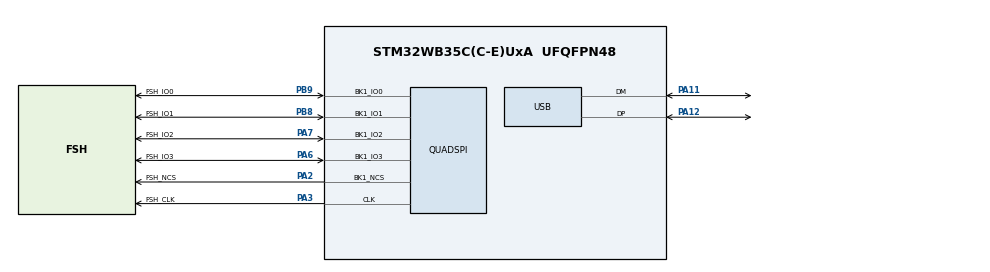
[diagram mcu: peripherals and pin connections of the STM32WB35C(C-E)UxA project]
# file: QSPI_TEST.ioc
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Dma.QUADSPI.0.Direction=DMA_PERIPH_TO_MEMORY
Dma.QUADSPI.0.EventEnable=DISABLE
Dma.QUADSPI.0.Instance=DMA1_Channel1
Dma.QUADSPI.0.MemDataAlignment=DMA_MDATAALIGN_BYTE
Dma.QUADSPI.0.MemInc=DMA_MINC_ENABLE
Dma.QUADSPI.0.Mode=DMA_NORMAL
Dma.QUADSPI.0.PeriphDataAlignment=DMA_PDATAALIGN_BYTE
Dma.QUADSPI.0.PeriphInc=DMA_PINC_DISABLE
Dma.QUADSPI.0.Polarity=HAL_DMAMUX_REQ_GEN_RISING
Dma.QUADSPI.0.Priority=DMA_PRIORITY_LOW
Dma.QUADSPI.0.RequestNumber=1
Dma.QUADSPI.0.SignalID=NONE
Dma.QUADSPI.0.SyncEnable=DISABLE
Dma.QUADSPI.0.SyncPolarity=HAL_DMAMUX_SYNC_NO_EVENT
Dma.QUADSPI.0.SyncRequestNumber=1
Dma.QUADSPI.0.SyncSignalID=NONE
Dma.Request0=QUADSPI
Mcu.Family=STM32WB
Mcu.Name=STM32WB35C(C-E)UxA
Mcu.Package=UFQFPN48
NVIC.DMA1_Channel1_IRQn=true\:0\:0\:false\:false\:true\:false\:true\:true
NVIC.PriorityGroup=NVIC_PRIORITYGROUP_4
NVIC.QUADSPI_IRQn=true\:0\:0\:false\:false\:true\:true\:true\:true
NVIC.USB_LP_IRQn=true\:0\:0\:false\:false\:true\:false\:true\:true
OSC_IN.Mode=HSE-External-Oscillator
OSC_IN.Signal=RCC_OSC_IN
OSC_OUT.Mode=HSE-External-Oscillator
OSC_OUT.Signal=RCC_OSC_OUT
PA11.Mode=Device
PA11.Signal=USB_DM
PA12.Mode=Device
PA12.Signal=USB_DP
PA13.Mode=Serial_Wire
PA13.Signal=SYS_JTMS-SWDIO
PA14.Mode=Serial_Wire
PA14.Signal=SYS_JTCK-SWCLK
PA2.GPIO_Label=FSH_NCS
PA2.Mode=Single Bank 1
PA2.Signal=QUADSPI_BK1_NCS
PA3.GPIO_Label=FSH_CLK
PA3.Mode=Single Bank 1
PA3.Signal=QUADSPI_CLK
PA6.GPIO_Label=FSH_IO3
PA6.Mode=Single Bank 1
PA6.Signal=QUADSPI_BK1_IO3
PA7.GPIO_Label=FSH_IO2
PA7.Mode=Single Bank 1
PA7.Signal=QUADSPI_BK1_IO2
PB8.GPIO_Label=FSH_IO1
PB8.Mode=Single Bank 1
PB8.Signal=QUADSPI_BK1_IO1
PB9.GPIO_Label=FSH_IO0
PB9.Mode=Single Bank 1
PB9.Signal=QUADSPI_BK1_IO0
ProjectManager.HeapSize=0x2000
ProjectManager.StackSize=0x4000
ProjectManager.TargetToolchain=MDK-ARM V5.32
QUADSPI.ClockPrescaler=0
RCC.ADCFreq_Value=48000000
RCC.AHB2CLKDivider=RCC_SYSCLK_DIV2
RCC.AHBFreq_Value=64000000
RCC.APB1Freq_Value=64000000
RCC.APB1TimFreq_Value=64000000
RCC.APB2Freq_Value=64000000
RCC.APB2TimFreq_Value=64000000
RCC.APB3Freq_Value=16000000
RCC.CortexFreq_Value=64000000
RCC.HCLKFreq_Value=64000000
RCC.HSE_VALUE=32000000
RCC.HSI48_VALUE=48000000
RCC.HSICalibrationValue=16
RCC.HSI_VALUE=16000000
RCC.LSE_VALUE=32768
RCC.PLLM=RCC_PLLM_DIV2
RCC.PLLSAI1N=6
RCC.PLLSourceVirtual=RCC_PLLSOURCE_HSE
RCC.SMPSCLockSelection=RCC_SMPSCLKSOURCE_HSE
RCC.SYSCLKFreq_VALUE=64000000
RCC.SYSCLKSource=RCC_SYSCLKSOURCE_PLLCLK
RCC.USBFreq_Value=48000000
RCC.VCOOutputFreq_Value=128000000
USB_DEVICE.CLASS_NAME_FS=MSC
USB_DEVICE.MSC_MEDIA_PACKET=2048
USB_DEVICE.VirtualMode=Msc
USB_DEVICE.VirtualModeFS=Msc_FS
VP_MEMORYMAP_VS_MEMORYMAP.Mode=CurAppReg
VP_USB_DEVICE_VS_USB_DEVICE_MSC_FS.Mode=MSC_FS
board=custom

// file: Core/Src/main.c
/* USER CODE BEGIN Header */
/**
  ******************************************************************************
  * @file           : main.c
  * @brief          : Main program body
  ******************************************************************************
  * @attention
  *
  * Copyright (c) 2025 STMicroelectronics.
  * All rights reserved.
  *
  * This software is licensed under terms that can be found in the LICENSE file
  * in the root directory of this software component.
  * If no LICENSE file comes with this software, it is provided AS-IS.
  *
  ******************************************************************************
  */
/* USER CODE END Header */
#include "main.h"
#include "dma.h"
#include "memorymap.h"
#include "quadspi.h"
#include "usb_device.h"
#include "gpio.h"

/* USER CODE BEGIN Includes */
#include "nand_flash.h"
#include "nand_ftl.h"
#include "ff.h"
#include <string.h>
/* USER CODE END Includes */

void SystemClock_Config(void);
void PeriphCommonClock_Config(void);
/* USER CODE BEGIN PFP */
//
uint16_t bad_block;
uint8_t introduction[PAGE_SIZE] = "The GD5F2GM7 NAND Flash memory is a high-performance, ";
uint8_t comp[PAGE_SIZE] = {0};
uint8_t ok;

void nand_flash_test()
{
	// 擦除
//	if (nand_flash_erase_block(0x78))
//	{
//		return;
//	}
    // for (uint16_t blk = 0; blk < BLOCK_COUNT; blk++)
    // {
    //   if (nand_flash_bad_block_check(blk*BLOCK_SIZE) != 0xFF)
    //   {
    //     bad_block++;
    //   }
    // }

      // block_meta_data_t meta;
      // nand_flash_write_page_spare(0, (uint8_t *)&meta, sizeof(block_meta_data_t));
      // nand_flash_read_page_spare(0, (uint8_t *)&meta, sizeof(block_meta_data_t));
      // nand_flash_erase_block(0);
      // memset(&meta, 0, sizeof(block_meta_data_t));
      // nand_flash_read_page_spare(0, (uint8_t *)&meta, sizeof(block_meta_data_t));

  memset(introduction, 'A', PAGE_SIZE);
	// 写入
	//nand_flash_write_page(0x78, PROGRAM_LOAD_x4_CMD, introduction, 2048);
	if (nand_flash_write_multi_page(0x40, introduction, BLOCK_SIZE))
	{
		return;
	}

  // internal data move. parity attribute ?  0 <-> 1 no 0 <-> 2 yes
//  if (nand_flash_internal_block_move(0x01, 0x7D1) != BLOCK_SIZE)
//  {
//    return;
//  }

  // 读取block2和 block0对比
  for (uint8_t page = 0; page < 0x40; page++)
  {
     nand_flash_read_page_from_cache(page + 0x40*BLOCK_SIZE, READ_CACHE_QUADDTR_CMD, comp, BLOCK_SIZE);
     if (memcmp(comp, introduction, BLOCK_SIZE) == 0)
     {
        ok++;
     }
  }

  memset(introduction, 0, PAGE_SIZE);
  ok = 0;
  // 擦除block 0
  nand_flash_erase_block(0);

//  if (nand_flash_internal_block_move(0x7D1, 0x01) != BLOCK_SIZE)
//  {
//    return;
//  }

  // 读取block2和 block0对比
  for (uint8_t page = 0x00; page < 0x40; page++)
  {
     nand_flash_read_page_from_cache(page + 0x1 * BLOCK_SIZE , READ_CACHE_QUAD_CMD, introduction, BLOCK_SIZE);
     if (memcmp(comp, introduction, BLOCK_SIZE) == 0)
     {
        ok++;
     }
  }

  // // 读取ECC
  // uint8_t ecc_buff[BLOCK_SIZE] = {0};

  // for (uint8_t i = 0; i < BLOCK_SIZE; i++)
  // {
  //   nand_flash_read_page_ecc(i, ecc_buff);
  // }

	memset(introduction, 0, 2048);
	// // 回读
	// if (nand_flash_read_page_from_cache(0x78, READ_CACHE_QUAD_CMD, introduction, 2048))
	// {
	// 	return;
	// }

	introduction[1] = 'B';
	if (nand_flash_write_multi_page(0x0, introduction, 1))
	{
		return;
	}

	memset(introduction, 0, 2048);
	// 回读
	if (nand_flash_read_page_from_cache(0x0, READ_CACHE_QUAD_CMD, introduction, 2048))
	{
		return;
	}
}

FATFS fs;
FIL file;

BYTE formatWorkBuff[2048];
BYTE buffer[2048];
char filepatah[] = "0:ts.txt";
uint32_t resbyte;
uint32_t i,j;
void fatfs_test()
{
	FRESULT res;

  res = f_mount(&fs, "0:", 1);
  memset(buffer, 0x55, 2048);
  if (res == FR_NO_FILESYSTEM)
  {

    res = f_mkfs("0:", NULL, formatWorkBuff, 2048);

    res = f_mount(NULL, "0:", 1);
    res = f_mount(&fs, "0:", 1);
    ftl_mark_critical_regions(fs.volbase, fs.fatbase, fs.dirbase);
  }
  ftl_init_critical_spare_block(fs.volbase, fs.fatbase, fs.dirbase);
  // res = f_unlink(filepatah);
  // res = f_open(&file, filepatah, FA_CREATE_ALWAYS | FA_WRITE |FA_READ);

  // for (i = 0x00, j = 0; i < 0x7F50; i++, j++)
  // {
  //   res = f_write(&file, buffer, 2048, &resbyte);
  // }

  // res = f_close(&file);

  ftl_save_descriptor(FTL_DESC_BLOCK);
  ftl_init_double_buffer();
}

/* USER CODE END PFP */

int main(void)
{

  /* MCU Configuration--------------------------------------------------------*/

  /* Reset of all peripherals, Initializes the Flash interface and the Systick. */
  HAL_Init();

  /* Configure the system clock */
  SystemClock_Config();

  /* Configure the peripherals common clocks */
  PeriphCommonClock_Config();

  /* USER CODE BEGIN SysInit */
  HAL_Delay(1000);
  NVIC_SetPriorityGrouping(NVIC_PRIORITYGROUP_4);
  /* USER CODE END SysInit */

  /* Initialize all configured peripherals */
  MX_GPIO_Init();
  MX_DMA_Init();
  MX_QUADSPI_Init();
  // nand_flash_initialize();
  // nand_flash_test();
  ftl_init();
  fatfs_test();

  MX_USB_Device_Init();

  /* Infinite loop */
  while (1)
  {

    /* USER CODE BEGIN 3 */

    if (dbuf.buf_ready[1 - dbuf.active_buf] == 0)
    {
      ftl_read_page(dbuf.next_lba, &dbuf.buffer[1 - dbuf.active_buf][0]);

      dbuf.buf_ready[1 - dbuf.active_buf] = 1; // 设置就绪标志
    }
    // nand_flash_read_page_from_cache(0x82, READ_CACHE_QUAD_CMD, introduction, 2048);
    // memset(introduction, 0, 2048);
  //   for (i = 0x00, j = 0; i < 0x7F50; i++, j++)
  // {
  //   nand_flash_read_page_from_cache(0x80+i, READ_CACHE_QUAD_CMD, introduction, 2048);
  // }

  }
  /* USER CODE END 3 */
}

void SystemClock_Config(void)
{
  LL_FLASH_SetLatency(LL_FLASH_LATENCY_3);
  while(LL_FLASH_GetLatency() != LL_FLASH_LATENCY_3)
  {
  }

  /* HSE configuration and activation */
  LL_RCC_HSE_Enable();
  while(LL_RCC_HSE_IsReady() != 1)
  {
  }

  /* HSI configuration and activation */
  LL_RCC_HSI_Enable();
  while(LL_RCC_HSI_IsReady() != 1)
  {
  }

  /* Main PLL configuration and activation */
  LL_RCC_PLL_ConfigDomain_SYS(LL_RCC_PLLSOURCE_HSE, LL_RCC_PLLM_DIV_2, 8, LL_RCC_PLLR_DIV_2);
  LL_RCC_PLL_Enable();
  LL_RCC_PLL_EnableDomain_SYS();
  while(LL_RCC_PLL_IsReady() != 1)
  {
  }

  /* Sysclk activation on the main PLL */
  /* Set CPU1 prescaler*/
  LL_RCC_SetAHBPrescaler(LL_RCC_SYSCLK_DIV_1);

  /* Set CPU2 prescaler*/
  LL_C2_RCC_SetAHBPrescaler(LL_RCC_SYSCLK_DIV_2);

  LL_RCC_SetSysClkSource(LL_RCC_SYS_CLKSOURCE_PLL);
  while(LL_RCC_GetSysClkSource() != LL_RCC_SYS_CLKSOURCE_STATUS_PLL)
  {
  }

  /* Set AHB SHARED prescaler*/
  LL_RCC_SetAHB4Prescaler(LL_RCC_SYSCLK_DIV_1);

  /* Set APB1 prescaler*/
  LL_RCC_SetAPB1Prescaler(LL_RCC_APB1_DIV_1);

  /* Set APB2 prescaler*/
  LL_RCC_SetAPB2Prescaler(LL_RCC_APB2_DIV_1);

  /* Update CMSIS variable (which can be updated also through SystemCoreClockUpdate function) */
  LL_SetSystemCoreClock(64000000);

   /* Update the time base */
  if (HAL_InitTick (TICK_INT_PRIORITY) != HAL_OK)
  {
    Error_Handler();
  }
}

void PeriphCommonClock_Config(void)
{
  LL_RCC_PLLSAI1_ConfigDomain_48M(LL_RCC_PLLSOURCE_HSE, LL_RCC_PLLM_DIV_2, 6, LL_RCC_PLLSAI1Q_DIV_2);
  LL_RCC_PLLSAI1_Enable();
  LL_RCC_PLLSAI1_EnableDomain_48M();

  /* Wait till PLLSAI1 is ready */
  while(LL_RCC_PLLSAI1_IsReady() != 1)
  {
  }

  LL_RCC_SetSMPSClockSource(LL_RCC_SMPS_CLKSOURCE_HSE);
  LL_RCC_SetSMPSPrescaler(LL_RCC_SMPS_DIV_0);
  LL_RCC_SetRFWKPClockSource(LL_RCC_RFWKP_CLKSOURCE_NONE);
}

void Error_Handler(void)
{
  __disable_irq();
  while (1)
  {
  }
}
